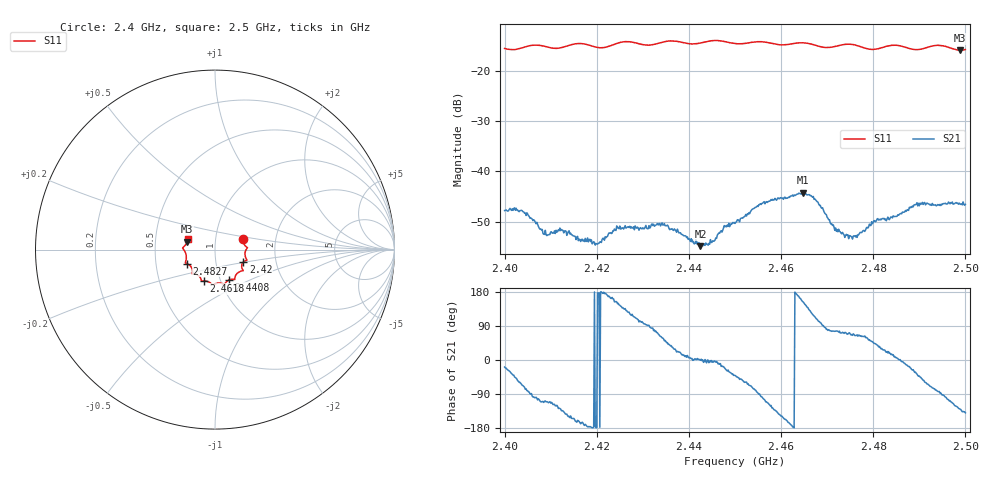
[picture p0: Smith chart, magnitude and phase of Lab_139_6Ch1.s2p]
# Hz S RI R 50
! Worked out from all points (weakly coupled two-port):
!   601 points, 2.4 GHz to 2.5 GHz, reference 50 ohm
!   highest |S21| = -44.22 dB at 2.4648 GHz (marker M1); lowest = -54.9 dB at 2.4425 GHz (marker M2)
!   lowest |S11| = -15.8 dB at 2.4988 GHz (marker M3), VSWR 1.39, Z = 36.4 + j3.33 ohm
!   |S11| at or under -10 dB: start of sweep to end of sweep
!   S12 and S22 are empty: the file has one direction only
!   S11 on the Smith chart (normalised r, x): 2.4 GHz: 1.36, +0.17; 2.42 GHz: 1.36, -0.19; 2.4408 GHz: 1.10, -0.39; 2.4618 GHz: 0.84, -0.30; 2.4827 GHz: 0.72, -0.12; 2.5 GHz: 0.73, +0.09
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2.4e9  0.1562 0.0618  0.00387 -0.00129  0 0  0 0
2.404e9  0.1706 0.0191  0.0015 -0.00368  0 0  0 0
2.408833e9  0.1756 0.00368  -0.00081 -0.00247  0 0  0 0
2.412167e9  0.1674 -0.0319  -0.00164 -0.00199  0 0  0 0
2.416667e9  0.1782 -0.0594  -0.00203 -0.000512  0 0  0 0
2.42e9  0.1579 -0.0695  -0.0019 -5.29e-05  0 0  0 0
2.4245e9  0.1536 -0.1113  -0.00234 0.00143  0 0  0 0
2.433333e9  0.1119 -0.152  0.00105 0.00273  0 0  0 0
2.440833e9  0.0788 -0.1689  0.00207 -2.86e-05  0 0  0 0
2.4425e9  0.0638 -0.1792  0.0018 -2.27e-05  0 0  0 0
2.45e9  0.0278 -0.1858  0.0023 -0.00198  0 0  0 0
2.455833e9  -0.0139 -0.1955  -0.00061 -0.00476  0 0  0 0
2.461833e9  -0.0602 -0.1751  -0.00538 -0.00122  0 0  0 0
2.464833e9  -0.075 -0.1758  -0.00547 0.00282  0 0  0 0
2.466667e9  -0.0769 -0.1684  -0.00307 0.00473  0 0  0 0
2.4715e9  -0.1103 -0.136  0.000674 0.00269  0 0  0 0
2.474167e9  -0.1258 -0.1355  0.000795 0.00223  0 0  0 0
2.482667e9  -0.1571 -0.0778  0.00311 0.00129  0 0  0 0
2.483333e9  -0.1614 -0.0763  0.00311 0.00126  0 0  0 0
2.489333e9  -0.1604 -0.0317  0.00383 -0.00271  0 0  0 0
2.498833e9  -0.1553 0.0445  -0.00305 -0.00364  0 0  0 0
2.5e9  -0.1519 0.0615  -0.00358 -0.00306  0 0  0 0
